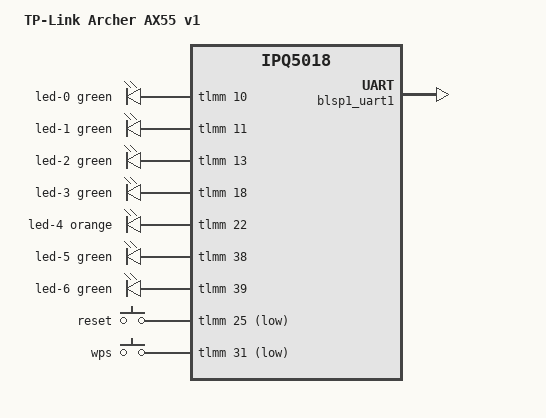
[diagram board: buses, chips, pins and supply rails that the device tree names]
// SPDX-License-Identifier: GPL-2.0+ OR BSD-3-Clause

/dts-v1/;

#include <dt-bindings/gpio/gpio.h>
#include <dt-bindings/input/input.h>
#include <dt-bindings/leds/common.h>

#include "ipq5018.dtsi"

/ {
	model = "TP-Link Archer AX55 v1";
	compatible = "tplink,archer-ax55-v1", "qcom,ipq5018";

	aliases {
		serial0 = &blsp1_uart1;
	};

	chosen {
		stdout-path = "serial0:115200n8";
	};

	leds {
		compatible = "gpio-leds";
		pinctrl-0 = <&led_pins>;
		pinctrl-names = "default";

		led-0 {
			color = <LED_COLOR_ID_GREEN>;
			function = LED_FUNCTION_LAN;
			gpios = <&tlmm 10 GPIO_ACTIVE_HIGH>;
		};

		led-1 {
			color = <LED_COLOR_ID_GREEN>;
			function = LED_FUNCTION_WAN;
			gpios = <&tlmm 11 GPIO_ACTIVE_HIGH>;
		};

		led-2 {
			/* WLAN 2.4GHz */
			color = <LED_COLOR_ID_GREEN>;
			function = LED_FUNCTION_WLAN;
			function-enumerator = <0>;
			gpios = <&tlmm 13 GPIO_ACTIVE_HIGH>;
		};

		led-3 {
			color = <LED_COLOR_ID_GREEN>;
			function = LED_FUNCTION_POWER;
			gpios = <&tlmm 18 GPIO_ACTIVE_HIGH>;
		};

		led-4 {
			color = <LED_COLOR_ID_ORANGE>;
			function = LED_FUNCTION_WAN;
			gpios = <&tlmm 22 GPIO_ACTIVE_HIGH>;
		};

		led-5 {
			color = <LED_COLOR_ID_GREEN>;
			function = LED_FUNCTION_USB;
			gpios = <&tlmm 38 GPIO_ACTIVE_HIGH>;
		};

		led-6 {
			/* WLAN 5GHz */
			color = <LED_COLOR_ID_GREEN>;
			function = LED_FUNCTION_WLAN;
			function-enumerator = <1>;
			gpios = <&tlmm 39 GPIO_ACTIVE_HIGH>;
		};
	};

	buttons {
		compatible = "gpio-keys";
		pinctrl-0 = <&button_pins>;
		pinctrl-names = "default";

		button-reset {
			debounce-interval = <60>;
			gpios = <&tlmm 25 GPIO_ACTIVE_LOW>;
			label = "reset";
			linux,code = <KEY_RESTART>;
		};

		button-wps {
			debounce-interval = <60>;
			gpios = <&tlmm 31 GPIO_ACTIVE_LOW>;
			label = "wps";
			linux,code = <KEY_WPS_BUTTON>;
		};
	};
};

&blsp1_uart1 {
	pinctrl-0 = <&uart1_pins>;
	pinctrl-names = "default";
	status = "okay";
};

&sleep_clk {
	clock-frequency = <32000>;
};

&tlmm {
	button_pins: button-pins-state {
		pins = "gpio25", "gpio31";
		bias-pull-up;
		drive-strength = <8>;
		function = "gpio";
	};

	led_pins: led-pins-state {
		pins = "gpio10", "gpio11", "gpio13", "gpio18", "gpio22",
		       "gpio38", "gpio39";
		bias-disable;
		drive-strength = <2>;
		function = "gpio";
	};
};

&uart1_pins {
	/*
	 * Remove "gpio31" from the default pins in order to be able
	 * to use that for the WPS button.
	 */
	pins = "gpio32", "gpio33", "gpio34";
};

&xo_board_clk {
	clock-frequency = <24000000>;
};
